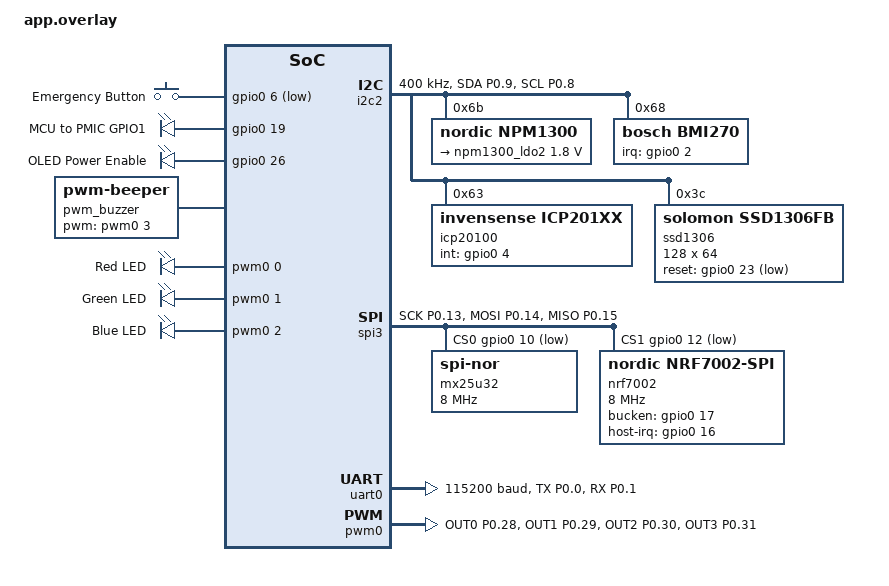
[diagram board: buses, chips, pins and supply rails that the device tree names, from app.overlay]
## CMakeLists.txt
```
# Require a minimum CMake version (Standard for NCS)
cmake_minimum_required(VERSION 3.20.0)

# Find the Zephyr package. This is the magic line that loads the whole RTOS.
find_package(Zephyr REQUIRED HINTS $ENV{ZEPHYR_BASE})

# Name your specific project
project(accelerometer_test)

# Tell CMake where your C source code lives
target_sources(app PRIVATE src/main.c)
```

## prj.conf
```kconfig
# Console & Logging
CONFIG_SERIAL=y
CONFIG_CONSOLE=y
CONFIG_STDOUT_CONSOLE=y
CONFIG_PRINTK=y


# I2C & PMIC
CONFIG_I2C=y
CONFIG_MFD_NPM13XX=y
CONFIG_REGULATOR=y
CONFIG_REGULATOR_NPM13XX=y

# Sensor Subsystem
CONFIG_SENSOR=y
CONFIG_BMI270=y

# Shell Subsystem (Required for SENSOR_SHELL)
CONFIG_SHELL=y
CONFIG_SENSOR_SHELL=y

# GPIO (Callbacks are natively supported, no extra flag needed)
CONFIG_GPIO=y

# Sensor interrupts
CONFIG_SENSOR_ASYNC_API=y

CONFIG_REGULATOR=y
```

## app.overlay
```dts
&pinctrl {
    /* --- UART0 --- */
    uart0_default: uart0_default {
        group1 {
            psels = <NRF_PSEL(UART_TX, 0, 0)>,
                    <NRF_PSEL(UART_RX, 0, 1)>;
        };
    };
    uart0_sleep: uart0_sleep {
        group1 {
            psels = <NRF_PSEL(UART_TX, 0, 0)>,
                    <NRF_PSEL(UART_RX, 0, 1)>;
            low-power-enable;
        };
    };

    i2c2_default: i2c2_default {
        group1 {
            psels = <NRF_PSEL(TWIM_SDA, 0, 9)>,
                    <NRF_PSEL(TWIM_SCL, 0, 8)>;
        };
    };
    i2c2_sleep: i2c2_sleep {
        group1 {
            psels = <NRF_PSEL(TWIM_SDA, 0, 9)>,
                    <NRF_PSEL(TWIM_SCL, 0, 8)>;
            low-power-enable;
        };
    };

    /* --- SPI3 --- */
    spi3_default: spi3_default {
        group1 {
            psels = <NRF_PSEL(SPIM_SCK, 0, 13)>,
                    <NRF_PSEL(SPIM_MOSI, 0, 14)>,
                    <NRF_PSEL(SPIM_MISO, 0, 15)>;
        };
    };
    spi3_sleep: spi3_sleep {
        group1 {
            psels = <NRF_PSEL(SPIM_SCK, 0, 13)>,
                    <NRF_PSEL(SPIM_MOSI, 0, 14)>,
                    <NRF_PSEL(SPIM_MISO, 0, 15)>;
            low-power-enable;
        };
    };

    /* --- PWM0 --- */
    pwm0_default: pwm0_default {
        group1 {
            /* RED=P0.28, GREEN=P0.29, BLUE=P0.30, BUZZER=P0.31 */
            psels = <NRF_PSEL(PWM_OUT0, 0, 28)>,
                    <NRF_PSEL(PWM_OUT1, 0, 29)>,
                    <NRF_PSEL(PWM_OUT2, 0, 30)>,
                    <NRF_PSEL(PWM_OUT3, 0, 31)>;
        };
    };
    pwm0_sleep: pwm0_sleep {
        group1 {
            psels = <NRF_PSEL(PWM_OUT0, 0, 28)>,
                    <NRF_PSEL(PWM_OUT1, 0, 29)>,
                    <NRF_PSEL(PWM_OUT2, 0, 30)>,
                    <NRF_PSEL(PWM_OUT3, 0, 31)>;
            low-power-enable;
        };
    };
};

&i2c2 {
    status = "okay";
    pinctrl-0 = <&i2c2_default>;
    pinctrl-1 = <&i2c2_sleep>;
    pinctrl-names = "default", "sleep";
    clock-frequency = <I2C_BITRATE_FAST>;

    /* Allocate RAM buffer for the BMI270 8KB config bursts */
    zephyr,concat-buf-size = <2048>;
    zephyr,flash-buf-max-size = <2048>;


    npm1300: pmic@6b {
        compatible = "nordic,npm1300";
        reg = <0x6b>;
        status = "okay"; /* Enable the PMIC parent */

        npm1300_regulators: regulators {
            compatible = "nordic,npm1300-regulator";
            status = "okay"; /* Enable the regulator subsystem */

            npm1300_ldo1: LDO1 {
                regulator-boot-on;
            };

            npm1300_ldo2: LDO2 {
                /* Set the voltage to 1.8V */
                regulator-min-microvolt = <1800000>;
                regulator-max-microvolt = <1800000>;
                regulator-init-microvolt = <1800000>;

                /* Force early power-on during boot */
                regulator-boot-on;
                regulator-always-on;
            };

        };

        npm1300_charger: charger {
            compatible = "nordic,npm1300-charger";
            status = "okay";
            /* Increase USB input current limit to 500mA to prevent boot brownouts */
            vbus-limit-microamp = <500000>;
            term-microvolt = <4200000>;
            current-microamp = <400000>;
            dischg-limit-microamp = <1000000>;
            thermistor-ohms = <10000>;
            thermistor-beta = <3380>;
        };

    };


    /* Bosch BMI270 IMU */
    bmi270: bmi270@68 {
        compatible = "bosch,bmi270";
        reg = <0x68>;
        irq-gpios = <&gpio0 2 GPIO_ACTIVE_HIGH>;
        //zephyr,deferred-init;

    };

    /* TDK Barometer */
    icp20100: icp20100@63 {
        compatible = "invensense,icp201xx";
        reg = <0x63>;
        int-gpios = <&gpio0 4 GPIO_ACTIVE_HIGH>;
    };

    /* OLED Display */
    ssd1306: ssd1306@3c {
        compatible = "solomon,ssd1306fb";
        reg = <0x3c>;
        width = <128>;
        height = <64>;
        segment-offset = <0>;
        page-offset = <0>;
        display-offset = <0>;
        multiplex-ratio = <63>;
        prechargep = <0x22>;
        reset-gpios = <&gpio0 23 GPIO_ACTIVE_LOW>;
    };
};

&spi3 {
    status = "okay";
    pinctrl-0 = <&spi3_default>;
    pinctrl-1 = <&spi3_sleep>;
    pinctrl-names = "default", "sleep";

    cs-gpios = <&gpio0 10 GPIO_ACTIVE_LOW>,
               <&gpio0 12 GPIO_ACTIVE_LOW>;

    /* NOR Flash (32Mb) */
    mx25u32: flash@0 {
        compatible = "jedec,spi-nor";
        reg = <0>;
        spi-max-frequency = <8000000>;
        size = <33554432>;
        jedec-id = [c2 25 36];
    };

    /* Wi-Fi Companion (nRF7002) */
    nrf7002: wifi@1 {
        compatible = "nordic,nrf7002-spi";
        reg = <1>;
        bucken-gpios = <&gpio0 17 GPIO_ACTIVE_HIGH>;
        host-irq-gpios = <&gpio0 16 GPIO_ACTIVE_HIGH>;
        spi-max-frequency = <8000000>;

        /* TX Power Limits (Required for RF Regulatory Compliance) */
        wifi-max-tx-pwr-2g-dsss = <16>;
        wifi-max-tx-pwr-2g-mcs0 = <16>;
        wifi-max-tx-pwr-2g-mcs7 = <15>;
        wifi-max-tx-pwr-5g-low-mcs0 = <14>;
        wifi-max-tx-pwr-5g-low-mcs7 = <13>;
        wifi-max-tx-pwr-5g-mid-mcs0 = <14>;
        wifi-max-tx-pwr-5g-mid-mcs7 = <13>;
        wifi-max-tx-pwr-5g-high-mcs0 = <14>;
        wifi-max-tx-pwr-5g-high-mcs7 = <13>;
    };
};

/ {
    aliases {
        sw0 = &button_em;
        buzzer = &pwm_buzzer;
        led0 = &led_red;
        led1 = &led_green;
        led2 = &led_blue;
        pmic-gpio1 = &mcu_to_pmic_gpio1;
    };

    buttons {
        compatible = "gpio-keys";
        button_em: button_0 {
            gpios = <&gpio0 6 (GPIO_PULL_UP | GPIO_ACTIVE_LOW)>;
            label = "Emergency Button";
        };
    };

    /* Custom Routing */
    custom_gpios {
        compatible = "gpio-leds";

        /* MCU P0.19 wired to PMIC GPIO1 */
        mcu_to_pmic_gpio1: mcu_to_pmic_gpio1 {
            gpios = <&gpio0 19 GPIO_ACTIVE_HIGH>;
            label = "MCU to PMIC GPIO1";
        };
    };

    /* Display Power Control Pin */
    display_ctrl {
        compatible = "gpio-leds";
        disp_power_en: disp_power_en {
            gpios = <&gpio0 26 GPIO_ACTIVE_HIGH>;
            label = "OLED Power Enable";
        };
    };

    /* Buzzer PWM routing */
    pwm_buzzer: pwm_buzzer {
        compatible = "pwm-beeper";
        pwms = <&pwm0 3 PWM_HZ(4000) PWM_POLARITY_NORMAL>;
    };

    pwmleds {
        compatible = "pwm-leds";
        led_red: led_pwm_0 {
            pwms = <&pwm0 0 PWM_MSEC(20) PWM_POLARITY_NORMAL>;
            label = "Red LED";
        };
        led_green: led_pwm_1 {
            pwms = <&pwm0 1 PWM_MSEC(20) PWM_POLARITY_NORMAL>;
            label = "Green LED";
        };
        led_blue: led_pwm_2 {
            pwms = <&pwm0 2 PWM_MSEC(20) PWM_POLARITY_NORMAL>;
            label = "Blue LED";
        };
    };
};

/* Enable UART0 */
&uart0 {
    status = "okay";
    pinctrl-0 = <&uart0_default>;
    pinctrl-1 = <&uart0_sleep>;
    pinctrl-names = "default", "sleep";
    current-speed = <115200>;
};

/* Enable PWM0 */
&pwm0 {
    status = "okay";
    pinctrl-0 = <&pwm0_default>;
    pinctrl-1 = <&pwm0_sleep>;
    pinctrl-names = "default", "sleep";
};
```

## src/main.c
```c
#include <zephyr/kernel.h>
#include <zephyr/device.h>
#include <zephyr/drivers/sensor.h>
#include <zephyr/drivers/regulator.h>
#include <stdio.h>

#define BMI270_NODE DT_NODELABEL(bmi270)
#define LDO2_NODE DT_NODELABEL(npm1300_ldo2)

/* =====================================================================
 * THE PRE-MAIN BOOT SEQUENCE
 * Runs at Priority 85. 
 * I2C/PMIC is fully ready (Pri 50-70). Sensor Driver runs next (Pri 90).
 * ===================================================================== */
static int power_up_imu_during_boot(void)
{
    const struct device *const ldo2_dev = DEVICE_DT_GET(LDO2_NODE);

    /* printk is used here because printf is not always available before main() */
    printk("\n--- BOOT PRIORITY 85: Powering up PMIC LDO2 ---\n");

    if (!device_is_ready(ldo2_dev)) {
        printk("WARNING: LDO2 device still not ready!\n");
        /* We will attempt to enable it anyway, sometimes the state flag lags */
    }

    int ret = regulator_enable(ldo2_dev);
    if (ret == 0) {
        printk("SUCCESS: LDO2 regulator enabled over I2C.\n");
    } else {
        printk("ERROR: regulator_enable failed with code: %d\n", ret);
    }

    printk("Sleeping 100ms for BMI270 ASIC to boot...\n");
    k_sleep(K_MSEC(100));
    printk("--- BOOT PRIORITY 85 COMPLETE ---\n\n");

    return 0;
}

/* Inject into POST_KERNEL boot phase at Priority 85 */
SYS_INIT(power_up_imu_during_boot, POST_KERNEL, 85);

/* =====================================================================
 * MAIN APPLICATION
 * ===================================================================== */
int main(void)
{
    const struct device *const bmi_dev = DEVICE_DT_GET(BMI270_NODE);
    struct sensor_value acc[3];

    printf("\n*** Booting Main Application ***\n");

    if (!device_is_ready(bmi_dev)) {
        printf("ERROR: BMI270 Driver failed to initialize during priority 90.\n");
        return 0;
    }
    
    printf("SUCCESS: Firmware loaded. BMI270 is completely ready!\n");

    /* Configure the sensor */
    struct sensor_value full_scale, sampling_freq, oversampling;
    full_scale.val1 = 2;            
    full_scale.val2 = 0;
    sampling_freq.val1 = 100;       
    sampling_freq.val2 = 0;
    oversampling.val1 = 1;          
    oversampling.val2 = 0;

    sensor_attr_set(bmi_dev, SENSOR_CHAN_ACCEL_XYZ, SENSOR_ATTR_FULL_SCALE, &full_scale);
    sensor_attr_set(bmi_dev, SENSOR_CHAN_ACCEL_XYZ, SENSOR_ATTR_OVERSAMPLING, &oversampling);
    sensor_attr_set(bmi_dev, SENSOR_CHAN_ACCEL_XYZ, SENSOR_ATTR_SAMPLING_FREQUENCY, &sampling_freq);

    /* Polling Loop */
    while (1) {
        if (sensor_sample_fetch(bmi_dev) < 0) {
            printf("Failed to fetch sample.\n");
        } else {
            sensor_channel_get(bmi_dev, SENSOR_CHAN_ACCEL_XYZ, acc);
                printf("Accel [m/s^2] -> X: %d.%06d | Y: %d.%06d | Z: %d.%06d\n",
                   acc[0].val1, acc[0].val2 < 0 ? -acc[0].val2 : acc[0].val2,
                   acc[1].val1, acc[1].val2 < 0 ? -acc[1].val2 : acc[1].val2,
                   acc[2].val1, acc[2].val2 < 0 ? -acc[2].val2 : acc[2].val2);
        }
        
        k_sleep(K_MSEC(250)); 
    }
    
    return 0;
}
```
